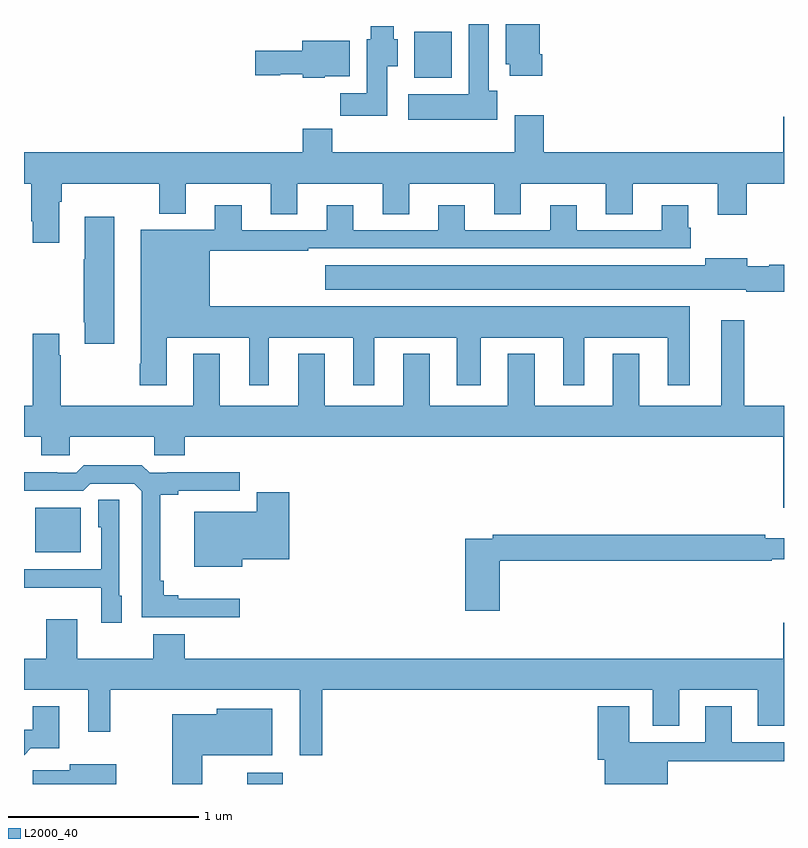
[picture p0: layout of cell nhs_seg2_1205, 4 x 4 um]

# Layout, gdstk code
import gdstk
lib = gdstk.Library(unit=1e-6, precision=1e-09)
def R(c, l, rs):  # rectangles x0, y0, x1, y1
    for r in rs: c.add(gdstk.rectangle(r[:2], r[2:], *l))
def P(c, l, *ps):  # polygons
    for p in ps: c.add(gdstk.Polygon(p, *l))
L2000_40 = (2000, 40)

nhs_seg2_1205 = lib.new_cell('nhs_seg2_1205')
R(nhs_seg2_1205, L2000_40, [(174.175,653.8,174.361,653.86), (173.06,655.019,173.299,655.255), (175.055,657.518,175.252,657.76)])
P(nhs_seg2_1205, L2000_40, [(175.492,657.45),(175.447,657.45),(175.447,657.8),(175.34,657.8),(175.34,657.43),(175.023,657.43),(175.023,657.296),(175.492,657.296)],
  [(175.727,657.64),(175.714,657.64),(175.714,657.8),(175.535,657.8),(175.535,657.588),(175.556,657.588),(175.556,657.528),(175.727,657.528)],
  [(174.913,657.577),(174.967,657.577),(174.967,657.72),(174.946,657.72),(174.946,657.787),(174.824,657.787),(174.824,657.72),(174.803,657.72),(174.803,657.436),(174.664,657.436),(174.664,657.318),(174.913,657.318)],
  [(174.582,657.524),(174.715,657.524),(174.715,657.712),(174.464,657.712),(174.464,657.658),(174.216,657.658),(174.216,657.529),(174.348,657.529),(174.348,657.536),(174.468,657.536),(174.468,657.518),(174.582,657.518)],
  [(173.185,656.864),(173.198,656.864),(173.198,656.96),(173.711,656.96),(173.711,656.801),(173.851,656.801),(173.851,656.96),(174.299,656.96),(174.299,656.8),(174.439,656.8),(174.439,656.96),(174.887,656.96),(174.887,656.8),(175.027,656.8),(175.027,656.96),(175.475,656.96),(175.475,656.8),(175.615,656.8),(175.615,656.96),(176.063,656.96),(176.063,656.8),(176.203,656.8),(176.203,656.96),(176.651,656.96),(176.651,656.796),(176.804,656.796),(176.804,656.96),(177,656.96),(177,657.313),(176.996,657.313),(176.996,657.124),(175.736,657.124),(175.736,657.319),(175.583,657.319),(175.583,657.124),(174.623,657.124),(174.623,657.248),(174.467,657.248),(174.467,657.124),(173,657.124),(173,656.96),(173.038,656.96),(173.038,656.761),(173.045,656.761),(173.045,656.649),(173.185,656.649)],
  [(173.752,656.15),(174.185,656.15),(174.185,655.899),(174.289,655.899),(174.289,656.15),(174.734,656.15),(174.734,655.899),(174.844,655.899),(174.844,656.15),(175.277,656.15),(175.277,655.899),(175.405,655.899),(175.405,656.15),(175.838,656.15),(175.838,655.899),(175.948,655.899),(175.948,656.15),(176.387,656.15),(176.387,655.899),(176.503,655.899),(176.503,656.314),(173.977,656.314),(173.977,656.607),(174.497,656.607),(174.497,656.619),(176.51,656.619),(176.51,656.727),(176.497,656.727),(176.497,656.845),(176.357,656.845),(176.357,656.715),(175.909,656.715),(175.909,656.845),(175.769,656.845),(175.769,656.715),(175.321,656.715),(175.321,656.845),(175.181,656.845),(175.181,656.715),(174.733,656.715),(174.733,656.845),(174.593,656.845),(174.593,656.715),(174.145,656.715),(174.145,656.845),(174.005,656.845),(174.005,656.716),(173.615,656.716),(173.615,656.011),(173.608,656.011),(173.608,655.899),(173.752,655.899)],
  [(173.476,656.785),(173.321,656.785),(173.321,656.561),(173.314,656.561),(173.314,656.23),(173.321,656.23),(173.321,656.118),(173.476,656.118)],
  [(177,656.532),(176.922,656.532),(176.922,656.524),(176.806,656.524),(176.806,656.566),(176.585,656.566),(176.585,656.53),(174.585,656.53),(174.585,656.402),(176.802,656.402),(176.802,656.39),(177,656.39)],
  [(177,655.792),(176.791,655.792),(176.791,656.242),(176.669,656.242),(176.669,655.792),(176.239,655.792),(176.239,656.065),(176.099,656.065),(176.099,655.792),(175.687,655.792),(175.687,656.065),(175.547,656.065),(175.547,655.792),(175.135,655.792),(175.135,656.065),(174.995,656.065),(174.995,655.792),(174.583,655.792),(174.583,656.065),(174.443,656.065),(174.443,655.792),(174.031,655.792),(174.031,656.065),(173.891,656.065),(173.891,655.792),(173.193,655.792),(173.193,656.057),(173.185,656.057),(173.185,656.17),(173.045,656.17),(173.045,655.792),(173,655.792),(173,655.628),(173.09,655.628),(173.09,655.53),(173.241,655.53),(173.241,655.628),(173.686,655.628),(173.686,655.53),(173.846,655.53),(173.846,655.628),(176.996,655.628),(176.996,655.254),(177,655.254)],
  [(174.136,654.775),(173.812,654.775),(173.812,654.794),(173.735,654.794),(173.735,654.871),(173.717,654.871),(173.717,655.322),(173.812,655.322),(173.812,655.344),(174.136,655.344),(174.136,655.442),(173.755,655.442),(173.755,655.437),(173.661,655.437),(173.621,655.477),(173.314,655.477),(173.274,655.437),(173.174,655.437),(173.174,655.442),(173,655.442),(173,655.344),(173.313,655.344),(173.349,655.38),(173.58,655.38),(173.619,655.341),(173.619,654.678),(174.136,654.678)],
  [(174.148,654.983),(174.395,654.983),(174.395,655.336),(174.224,655.336),(174.224,655.234),(173.897,655.234),(173.897,654.944),(174.148,654.944)],
  [(173.515,654.792),(173.502,654.792),(173.502,655.295),(173.39,655.295),(173.39,655.152),(173.406,655.152),(173.406,654.93),(173,654.93),(173,654.834),(173.089,654.834),(173.089,654.833),(173.406,654.833),(173.406,654.648),(173.515,654.648)],
  [(175.505,654.976),(176.936,654.976),(176.936,654.984),(177,654.984),(177,655.093),(176.9,655.093),(176.9,655.112),(175.468,655.112),(175.468,655.092),(175.322,655.092),(175.322,654.711),(175.505,654.711)],
  [(174.569,654.296),(176.309,654.296),(176.309,654.106),(176.449,654.106),(176.449,654.296),(176.861,654.296),(176.861,654.106),(177,654.106),(177,654.649),(176.996,654.649),(176.996,654.46),(173.845,654.46),(173.845,654.589),(173.681,654.589),(173.681,654.46),(173.281,654.46),(173.281,654.667),(173.117,654.667),(173.117,654.46),(173,654.46),(173,654.296),(173.339,654.296),(173.339,654.075),(173.453,654.075),(173.453,654.296),(174.452,654.296),(174.452,653.952),(174.569,653.952)],
  [(176.389,653.92),(177,653.92),(177,654.021),(176.725,654.021),(176.725,654.208),(176.585,654.208),(176.585,654.021),(176.185,654.021),(176.185,654.208),(176.021,654.208),(176.021,653.928),(176.057,653.928),(176.057,653.8),(176.389,653.8)],
  [(173.036,653.987),(173.185,653.987),(173.185,654.208),(173.045,654.208),(173.045,654.085),(173,654.085),(173,653.951)],
  [(173.938,653.951),(174.307,653.951),(174.307,654.196),(174.014,654.196),(174.014,654.166),(173.78,654.166),(173.78,653.8),(173.938,653.8)],
  [(173.485,653.905),(173.24,653.905),(173.24,653.873),(173.046,653.873),(173.046,653.8),(173.485,653.8)])

lib.write_gds('nhs_seg2_1205.gds')
